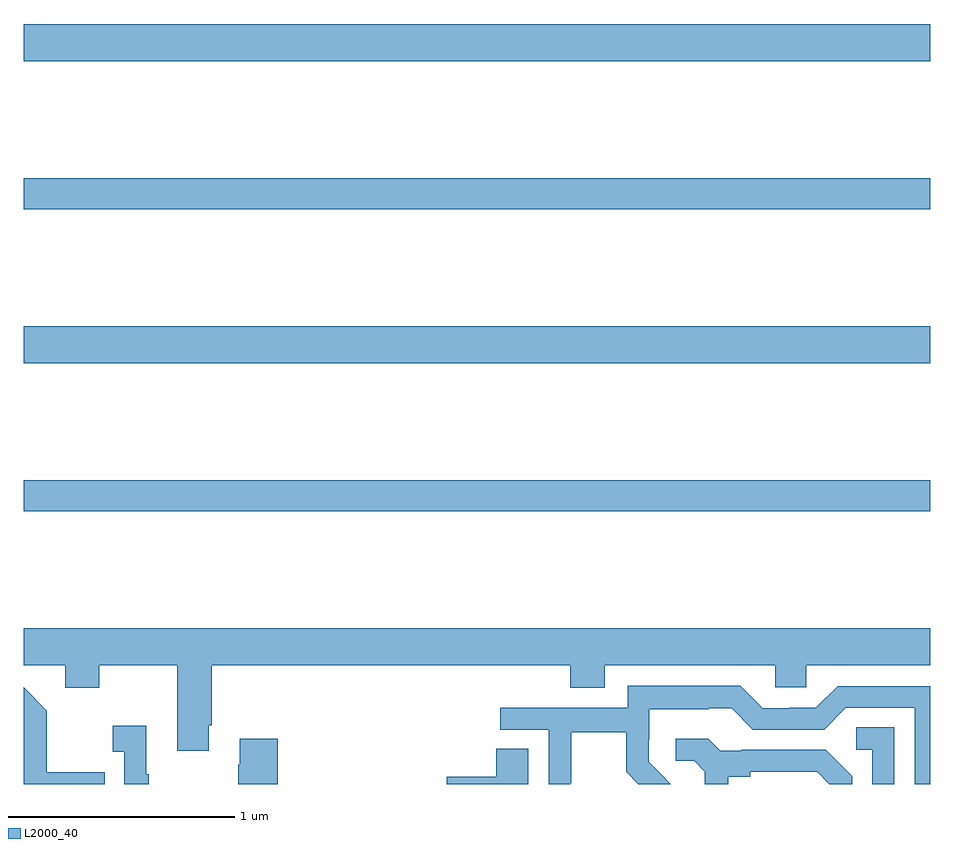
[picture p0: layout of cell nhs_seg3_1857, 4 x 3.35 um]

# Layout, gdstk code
import gdstk
lib = gdstk.Library(unit=1e-6, precision=1e-09)
def R(c, l, rs):  # rectangles x0, y0, x1, y1
    for r in rs: c.add(gdstk.rectangle(r[:2], r[2:], *l))
def P(c, l, *ps):  # polygons
    for p in ps: c.add(gdstk.Polygon(p, *l))
L2000_40 = (2000, 40)

nhs_seg3_1857 = lib.new_cell('nhs_seg3_1857')
R(nhs_seg3_1857, L2000_40, [(207,693.604,211,693.74), (207,694.256,211,694.42), (207,694.936,211,695.072), (207,695.588,211,695.752)])
P(nhs_seg3_1857, L2000_40, [(207.817,692.659),(207.83,692.659),(207.83,692.924),(209.411,692.924),(209.411,692.825),(209.563,692.825),(209.563,692.924),(210.315,692.924),(210.315,692.826),(210.453,692.826),(210.453,692.924),(211,692.924),(211,693.088),(207,693.088),(207,692.924),(207.185,692.924),(207.185,692.825),(207.333,692.825),(207.333,692.924),(207.677,692.924),(207.677,692.547),(207.817,692.547)],
  [(209.412,692.404),(209.415,692.404),(209.415,692.628),(209.659,692.628),(209.659,692.453),(209.712,692.4),(209.854,692.4),(209.831,692.423),(209.832,692.424),(209.758,692.498),(209.758,692.595),(209.76,692.595),(209.76,692.729),(210.023,692.729),(210.023,692.733),(210.123,692.733),(210.216,692.64),(210.531,692.64),(210.627,692.736),(210.93,692.736),(210.93,692.4),(211,692.4),(211,692.832),(210.591,692.832),(210.495,692.736),(210.377,692.736),(210.377,692.733),(210.261,692.733),(210.161,692.833),(209.664,692.833),(209.664,692.736),(209.103,692.736),(209.103,692.64),(209.316,692.64),(209.316,692.4),(209.412,692.4)],
  [(207.359,692.451),(207.103,692.451),(207.103,692.723),(207,692.826),(207,692.4),(207.359,692.4)],
  [(207.553,692.443),(207.541,692.443),(207.541,692.656),(207.393,692.656),(207.393,692.543),(207.444,692.543),(207.444,692.4),(207.553,692.4)],
  [(210.84,692.651),(210.672,692.651),(210.672,692.55),(210.744,692.55),(210.744,692.4),(210.84,692.4)],
  [(208.121,692.599),(207.953,692.599),(207.953,692.486),(207.946,692.486),(207.946,692.4),(208.121,692.4)],
  [(210.109,692.432),(210.205,692.432),(210.205,692.454),(210.5,692.454),(210.554,692.4),(210.654,692.4),(210.654,692.434),(210.538,692.55),(210.166,692.55),(210.166,692.547),(210.072,692.547),(210.02,692.599),(209.877,692.599),(209.877,692.502),(209.958,692.502),(210.005,692.455),(210.005,692.4),(210.109,692.4)],
  [(209.227,692.555),(209.084,692.555),(209.084,692.432),(208.866,692.432),(208.866,692.4),(209.227,692.4)])

lib.write_gds('nhs_seg3_1857.gds')
